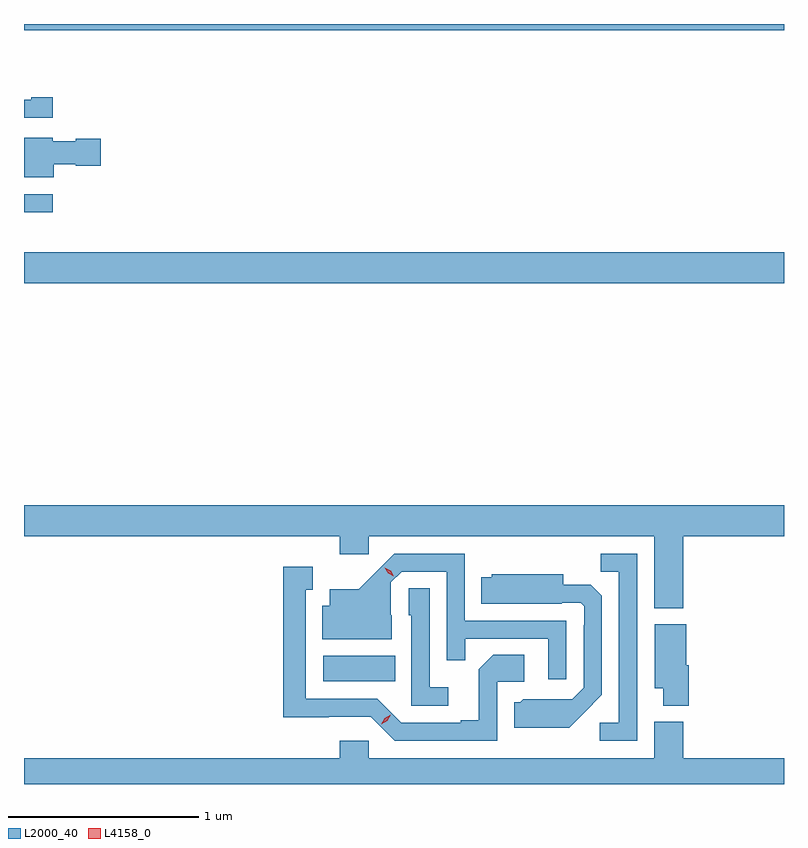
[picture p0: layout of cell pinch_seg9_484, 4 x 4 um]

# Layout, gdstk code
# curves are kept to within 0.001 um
import gdstk
lib = gdstk.Library(unit=1e-6, precision=1e-09)
def R(c, l, rs):  # rectangles x0, y0, x1, y1
    for r in rs: c.add(gdstk.rectangle(r[:2], r[2:], *l))
def P(c, l, *ps):  # polygons
    for p in ps: c.add(gdstk.Polygon(p, *l))
L2000_40 = (2000, 40)
L4158_0 = (4158, 0)

pinch_seg9_484 = lib.new_cell('pinch_seg9_484')
R(pinch_seg9_484, L2000_40, [(314.088,1200.986,314.468,1201.12), (312.514,1203.08,316.514,1203.244), (312.514,1203.453,312.664,1203.549), (312.514,1204.412,316.514,1204.445)])
P(pinch_seg9_484, L2000_40, [(312.664,1204.06),(312.551,1204.06),(312.551,1204.047),(312.514,1204.047),(312.514,1203.951),(312.664,1203.951)],
  [(312.67,1203.707),(312.786,1203.707),(312.786,1203.7),(312.919,1203.7),(312.919,1203.842),(312.786,1203.842),(312.786,1203.829),(312.666,1203.829),(312.666,1203.847),(312.514,1203.847),(312.514,1203.638),(312.67,1203.638)],
  [(315.983,1201.748),(316.514,1201.748),(316.514,1201.912),(312.514,1201.912),(312.514,1201.748),(314.177,1201.748),(314.177,1201.653),(314.328,1201.653),(314.328,1201.748),(315.83,1201.748),(315.83,1201.37),(315.983,1201.37)],
  [(315.741,1201.656),(315.55,1201.656),(315.55,1201.561),(315.645,1201.561),(315.645,1200.768),(315.543,1200.768),(315.543,1200.672),(315.741,1200.672)],
  [(315.369,1201.305),(314.835,1201.305),(314.835,1201.656),(314.462,1201.656),(314.275,1201.471),(314.123,1201.471),(314.123,1201.384),(314.084,1201.384),(314.084,1201.208),(314.449,1201.208),(314.449,1201.332),(314.445,1201.332),(314.445,1201.506),(314.502,1201.563),(314.739,1201.563),(314.739,1201.096),(314.837,1201.096),(314.837,1201.209),(315.273,1201.209),(315.273,1200.996),(315.369,1200.996)],
  [(315.006,1200.984),(315.148,1200.984),(315.148,1201.124),(314.983,1201.124),(314.907,1201.048),(314.907,1200.781),(314.813,1200.781),(314.813,1200.768),(314.499,1200.768),(314.373,1200.894),(313.996,1200.894),(313.996,1201.467),(314.035,1201.467),(314.035,1201.588),(313.878,1201.588),(313.878,1200.797),(314.34,1200.798),(314.466,1200.672),(315.006,1200.672)],
  [(315.463,1200.821),(315.555,1200.914),(315.555,1201.436),(315.496,1201.495),(315.352,1201.495),(315.352,1201.549),(314.976,1201.549),(314.976,1201.534),(314.92,1201.534),(314.92,1201.394),(315.344,1201.394),(315.344,1201.398),(315.444,1201.398),(315.462,1201.38),(315.462,1201.28),(315.459,1201.28),(315.459,1200.951),(315.399,1200.891),(315.142,1200.892),(315.126,1200.876),(315.095,1200.876),(315.095,1200.74),(315.383,1200.74)],
  [(314.746,1200.955),(314.649,1200.955),(314.649,1201.475),(314.538,1201.475),(314.538,1201.332),(314.553,1201.332),(314.553,1200.858),(314.746,1200.858)],
  [(316.013,1201.071),(316,1201.071),(316,1201.285),(315.833,1201.285),(315.833,1200.95),(315.878,1200.95),(315.878,1200.857),(316.013,1200.857)],
  [(316.514,1200.58),(315.983,1200.58),(315.983,1200.772),(315.83,1200.772),(315.83,1200.58),(314.328,1200.58),(314.328,1200.673),(314.177,1200.673),(314.177,1200.58),(312.514,1200.58),(312.514,1200.445),(316.514,1200.445)])
P(pinch_seg9_484, L4158_0, [(314.461,1201.538),(314.43,1201.553),(314.412,1201.582),(314.412,1201.583),(314.412,1201.583),(314.443,1201.568),(314.461,1201.539),(314.461,1201.538)],
  [(314.394,1200.759),(314.394,1200.759),(314.412,1200.791),(314.444,1200.81),(314.444,1200.81),(314.444,1200.809),(314.426,1200.777),(314.394,1200.759)])

lib.write_gds('pinch_seg9_484.gds')
